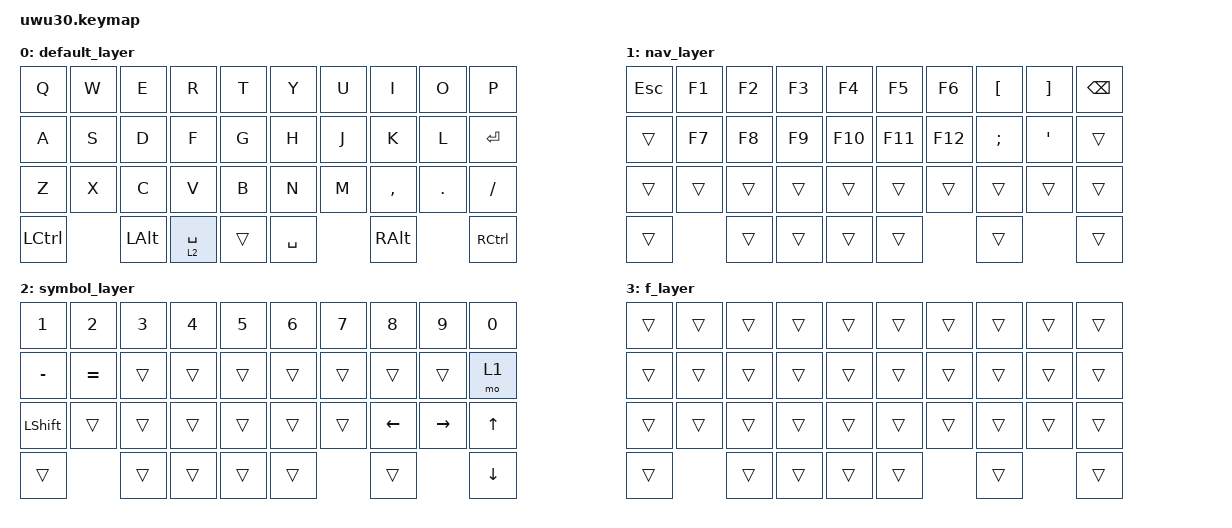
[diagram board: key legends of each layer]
/*
 * Copyright (c) 2023 The ZMK Contributors
 *
 * SPDX-License-Identifier: MIT
 */

#include <behaviors.dtsi>
#include <dt-bindings/zmk/keys.h>

/ {
    combos {
        compatible = "zmk,combos";

        backspace {
            timeout-ms = <100>;
            key-positions = <9 8>;
            bindings = <&kp BACKSPACE>;
        };

        esc {
            bindings = <&kp ESCAPE>;
            key-positions = <0 1>;
        };

        shift {
            bindings = <&kp LEFT_SHIFT>;
            key-positions = <20 30>;
        };
    };
};

&mt { tapping-term-ms = <400>; };

/ {
    keymap {
        compatible = "zmk,keymap";

        default_layer {
            bindings = <
&kp Q             &kp W  &kp E         &kp R        &kp T   &kp Y      &kp U  &kp I          &kp O    &kp P
&kp A             &kp S  &kp D         &kp F        &kp G   &kp H      &kp J  &kp K          &kp L    &kp ENTER
&kp Z             &kp X  &kp C         &kp V        &kp B   &kp N      &kp M  &kp COMMA      &kp DOT  &kp SLASH
&kp LEFT_CONTROL         &kp LEFT_ALT  &lt 2 SPACE  &trans  &kp SPACE         &kp RIGHT_ALT           &kp RIGHT_CONTROL
            >;
        };

        nav_layer {
            bindings = <
&kp ESC  &kp F1  &kp F2  &kp F3  &kp F4   &kp F5   &kp F6   &kp LEFT_BRACKET  &kp RIGHT_BRACKET  &kp BSPC
&trans   &kp F7  &kp F8  &kp F9  &kp F10  &kp F11  &kp F12  &kp SEMICOLON     &kp SQT            &trans
&trans   &trans  &trans  &trans  &trans   &trans   &trans   &trans            &trans             &trans
&trans           &trans  &trans  &trans   &trans            &trans                               &trans
            >;
        };

        symbol_layer {
            bindings = <
&kp N1          &kp N2     &kp N3  &kp N4  &kp N5  &kp N6  &kp N7  &kp N8    &kp N9     &kp N0
&kp MINUS       &kp EQUAL  &trans  &trans  &trans  &trans  &trans  &trans    &trans     &mo 1
&kp LEFT_SHIFT  &trans     &trans  &trans  &trans  &trans  &trans  &kp LEFT  &kp RIGHT  &kp UP_ARROW
&trans                     &trans  &trans  &trans  &trans          &trans               &kp DOWN_ARROW
            >;
        };

        f_layer {
            bindings = <
&trans  &trans  &trans  &trans  &trans  &trans  &trans  &trans  &trans  &trans
&trans  &trans  &trans  &trans  &trans  &trans  &trans  &trans  &trans  &trans
&trans  &trans  &trans  &trans  &trans  &trans  &trans  &trans  &trans  &trans
&trans          &trans  &trans  &trans  &trans          &trans          &trans
            >;
        };
    };
};
